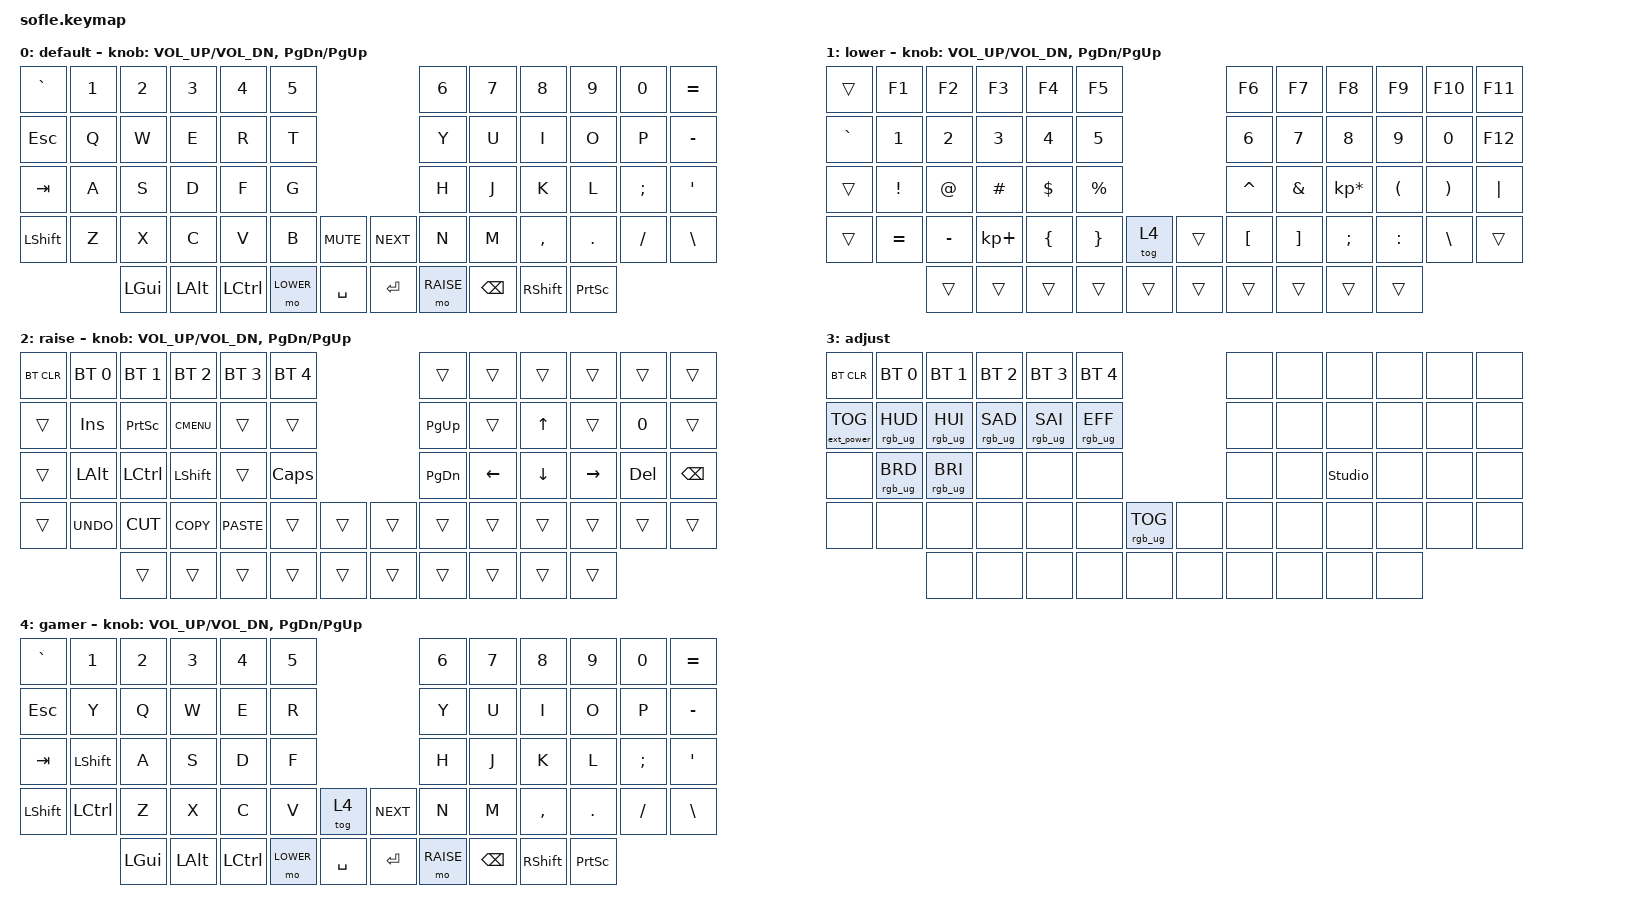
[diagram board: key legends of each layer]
/*
 * Copyright (c) 2020 The ZMK Contributors
 *
 * SPDX-License-Identifier: MIT
 */

#include <behaviors.dtsi>
#include <dt-bindings/zmk/keys.h>
#include <dt-bindings/zmk/bt.h>
#include <dt-bindings/zmk/rgb.h>
#include <dt-bindings/zmk/ext_power.h>

#define BASE 0
#define LOWER 1
#define RAISE 2
#define ADJUST 3
#define GAMER 4

/ {

   // Activate ADJUST layer by pressing raise and lower
    conditional_layers {
        compatible = "zmk,conditional-layers";
        adjust_layer {
            if-layers = <LOWER RAISE>;
            then-layer = <ADJUST>;
        };
    };

    keymap {
        compatible = "zmk,keymap";

        default_layer {
            display-name = "default";
// ------------------------------------------------------------------------------------------------------------
// |   `   |  1  |  2  |  3   |  4   |  5   |                   |  6   |  7    |  8    |  9   |   0   |   =   |
// |  ESC  |  Q  |  W  |  E   |  R   |  T   |                   |  Y   |  U    |  I    |  O   |   P   |   -   |
// |  TAB  |  A  |  S  |  D   |  F   |  G   |                   |  H   |  J    |  K    |  L   |   ;   |   '   |
// | SHIFT |  Z  |  X  |  C   |  V   |  B   |  MUTE  |  | NEXT  |  N   |  M    |  ,    |  .   |   /   |   \   |
//               | GUI | ALT  | CTRL | LOWER|  SPACE |  | ENTER | RAISE| BKSPC | SHIFT | PSCRN|
            bindings = <
&kp GRAVE &kp N1 &kp N2   &kp N3   &kp N4    &kp N5                           &kp N6 &kp N7    &kp N8    &kp N9   &kp N0   &kp EQUAL
&kp ESC   &kp Q  &kp W    &kp E    &kp R     &kp T                            &kp Y  &kp U     &kp I     &kp O    &kp P    &kp MINUS
&kp TAB   &kp A  &kp S    &kp D    &kp F     &kp G                            &kp H  &kp J     &kp K     &kp L    &kp SEMI &kp SQT
&kp LSHFT &kp Z  &kp X    &kp C    &kp V     &kp B      &kp C_MUTE &kp C_NEXT &kp N  &kp M     &kp COMMA &kp DOT  &kp FSLH &kp BSLH
                 &kp LGUI &kp LALT &kp LCTRL &mo LOWER  &kp SPACE  &kp RET    &mo RAISE  &kp BSPC &kp RSHFT  &kp PSCRN
            >;

            sensor-bindings = <&inc_dec_kp C_VOL_UP C_VOL_DN &inc_dec_kp PG_DN PG_UP>;
        };

        lower_layer {
            display-name = "lower";
// TODO: Some binds are waiting for shifted keycode support.
// ------------------------------------------------------------------------------------------------------------
// |       |  F1 |  F2 |  F3  |  F4  |  F5  |                   |  F6  |  F7   |  F8   |  F9  |  F10  |  F11  |
// |   `   |  1  |  2  |  3   |  4   |  5   |                   |  6   |  7    |  8    |  9   |   0   |  F12  |
// |       |  !  |  @  |  #   |  $   |  %   |                   |  ^   |  &    |  *    |  (   |   )   |   |   |
// |       |  =  |  -  |  +   |  {   |  }   |        |  |       |  [   |  ]    |  ;    |  :   |   \   |       |
//               |     |      |      |      |        |  |       |      |       |       |      |
            bindings = <
&trans    &kp F1    &kp F2    &kp F3      &kp F4    &kp F5                    &kp F6    &kp F7   &kp F8          &kp F9    &kp F10   &kp F11
&kp GRAVE &kp N1    &kp N2    &kp N3      &kp N4    &kp N5                    &kp N6    &kp N7   &kp N8          &kp N9    &kp N0    &kp F12
&trans    &kp EXCL  &kp AT    &kp HASH    &kp DLLR  &kp PRCNT                 &kp CARET &kp AMPS &kp KP_MULTIPLY &kp LPAR  &kp RPAR  &kp PIPE
&trans    &kp EQUAL &kp MINUS &kp KP_PLUS &kp LBRC  &kp RBRC   &tog 4 &trans  &kp LBKT  &kp RBKT &kp SEMI        &kp COLON &kp BSLH  &trans
                    &trans    &trans      &trans    &trans     &trans &trans  &trans    &trans   &trans          &trans
            >;

            sensor-bindings = <&inc_dec_kp C_VOL_UP C_VOL_DN &inc_dec_kp PG_DN PG_UP>;
        };

        raise_layer {
            display-name = "raise";
// ------------------------------------------------------------------------------------------------------------
// | BTCLR | BT1  | BT2  |  BT3  |  BT4  |  BT5 |                |      |      |       |      |       |       |
// |       | INS  | PSCR | GUI   |       |      |                | PGUP |      |   ^   |      |       |       |
// |       | ALT  | CTRL | SHIFT |       | CAPS |                | PGDN |   <- |   v   |  ->  |  DEL  | BKSPC |
// |       | UNDO | CUT  | COPY  | PASTE |      |      |  |      |      |      |       |      |       |       |
//                |      |       |       |      |      |  |      |      |      |       |      |
            bindings = <
&bt BT_CLR &bt BT_SEL 0 &bt BT_SEL 1 &bt BT_SEL 2 &bt BT_SEL 3 &bt BT_SEL 4                  &trans    &trans    &trans   &trans    &trans  &trans
&trans     &kp INS      &kp PSCRN    &kp K_CMENU  &trans       &trans                        &kp PG_UP &trans    &kp UP   &trans    &kp N0  &trans
&trans     &kp LALT     &kp LCTRL    &kp LSHFT    &trans       &kp CLCK                      &kp PG_DN &kp LEFT  &kp DOWN &kp RIGHT &kp DEL &kp BSPC
&trans     &kp K_UNDO   &kp K_CUT    &kp K_COPY   &kp K_PASTE  &trans        &trans  &trans  &trans    &trans    &trans   &trans    &trans  &trans
                        &trans       &trans       &trans       &trans        &trans  &trans  &trans    &trans    &trans   &trans
            >;

            sensor-bindings = <&inc_dec_kp C_VOL_UP C_VOL_DN &inc_dec_kp PG_DN PG_UP>;
        };

        adjust_layer {
// ----------------------------------------------------------------------------------------------------------------------------
// | BTCLR  |  BT1    |  BT2    |   BT3   |   BT4   |   BT5   |                  |      |      |       |      |       |       |
// | EXTPWR | RGB_HUD | RGB_HUI | RGB_SAD | RGB_SAI | RGB_EFF |                  |      |      |       |      |       |       |
// |        | RGB_BRD | RGB_BRI |         |         |         |                  |      |      |       |      |       |       |
// |        |         |         |         |         |         | RGB_TOG | |      |      |      |       |      |       |       |
//                    |         |         |         |         |         | |      |      |      |       |      |
            display-name = "adjust";
            bindings = <
&bt BT_CLR        &bt BT_SEL 0    &bt BT_SEL 1    &bt BT_SEL 2    &bt BT_SEL 3    &bt BT_SEL 4                            &none &none &none          &none &none &none
&ext_power EP_TOG &rgb_ug RGB_HUD &rgb_ug RGB_HUI &rgb_ug RGB_SAD &rgb_ug RGB_SAI &rgb_ug RGB_EFF                         &none &none &none          &none &none &none
&none             &rgb_ug RGB_BRD &rgb_ug RGB_BRI &none           &none           &none                                   &none &none &studio_unlock &none &none &none
&none             &none           &none           &none           &none           &none            &rgb_ug RGB_TOG &none  &none &none &none          &none &none &none
                                  &none           &none           &none           &none            &none           &none  &none &none &none          &none
            >;
        };

        gamer_layer {
            display-name = "gamer";

// |   `   |  1  |  2  |  3   |  4   |  5   |                   |  6   |  7    |  8    |  9   |   0   |   =   |
// |  ESC  |  Y  |  Q  |  W   |  E   |  R   |                   |  Y   |  U    |  I    |  O   |   P   |   -   |
// |  TAB  |LSHFT|  A  |  S   |  D   |  F   |                   |  H   |  J    |  K    |  L   |   ;   |   '   |
// | SHIFT |CTRL |  X  |  X   |  C   |  V   |  MUTE  |  | NEXT  |  N   |  M    |  ,    |  .   |   /   |   \   |
//               | GUI | ALT  | CTRL | LOWER|  SPACE |  | ENTER | RAISE| BKSPC | SHIFT | PSCRN|
            bindings = <
&kp GRAVE &kp N1    &kp N2   &kp N3   &kp N4    &kp N5                           &kp N6 &kp N7    &kp N8    &kp N9   &kp N0   &kp EQUAL
&kp ESC   &kp Y     &kp Q    &kp W    &kp E     &kp R                            &kp Y  &kp U     &kp I     &kp O    &kp P    &kp MINUS
&kp TAB   &kp LSHFT &kp A    &kp S    &kp D     &kp F                            &kp H  &kp J     &kp K     &kp L    &kp SEMI &kp SQT
&kp LSHFT &kp LCTRL &kp Z    &kp X    &kp C     &kp V   &tog 4     &kp C_NEXT &kp N  &kp M     &kp COMMA &kp DOT  &kp FSLH &kp BSLH
                 &kp LGUI &kp LALT &kp LCTRL &mo LOWER  &kp SPACE  &kp RET    &mo RAISE  &kp BSPC &kp RSHFT  &kp PSCRN
            >;

            sensor-bindings = <&inc_dec_kp C_VOL_UP C_VOL_DN &inc_dec_kp PG_DN PG_UP>;
        };
    };
};
